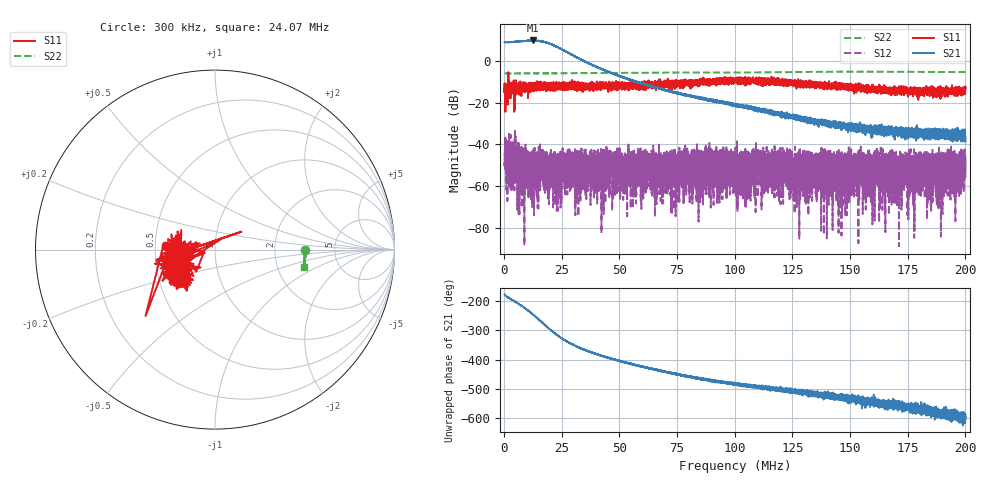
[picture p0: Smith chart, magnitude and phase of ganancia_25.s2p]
# Hz S DB R 50
! CMT, M5065, 19127446, 24.2.4/2
! Date: 11/8/2024 2:58:12 PM
! Data: Format (Calibration Info)
! Freq	S11:dB/Ang(F2)	S21:dB/Ang(F2)	S12:dB/Ang(F2)	S22:dB/Ang(F2)
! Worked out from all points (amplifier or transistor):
!   9000 points, 300 kHz to 200 MHz, reference 50 ohm
!   highest |S21| = 9.8 dB at 12.51 MHz (marker M1)
!   |S21| within 3 dB of that: start of sweep to 22.86 MHz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
!   unconditionally stable (mu >= 1): start of sweep to end of sweep
!   at 33.59 MHz: K = 40.34, MAG = 2.2 dB, |S12| = -42.0 dB
!   at 100.2 MHz: K = 761.56, MAG = -19.1 dB, |S12| = -46.4 dB
!   at 200 MHz: K = 5065.13, MAG = -35.0 dB, |S12| = -46.9 dB
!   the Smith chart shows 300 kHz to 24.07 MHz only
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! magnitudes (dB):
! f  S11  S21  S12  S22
! 300 kHz  -11.3  8.9  -48.4  -6.0
! 4.139 MHz  -12.4  9.1  -46.7  -6.0
! 7.357 MHz  -14.7  9.4  -45.3  -6.0
! 12.51 MHz  -12.8  9.8  -45.6  -5.9
! 20.29 MHz  -12.2  8.0  -54.8  -6.0
! 33.59 MHz  -11.5  0.6  -42.0  -5.8
! 66.87 MHz  -11.4  -13.0  -51.7  -5.7
! 100.2 MHz  -9.6  -21.1  -46.4  -5.5
! 133.4 MHz  -11.6  -28.7  -57.2  -5.3
! 148.8 MHz  -12.4  -30.6  -48.3  -5.2
! 154.4 MHz  -12.3  -31.1  -45.5  -5.2
! 156.4 MHz  -15.0  -31.1  -52.1  -5.2
! 166.7 MHz  -14.0  -33.6  -55.2  -5.2
! 176.5 MHz  -13.0  -33.3  -57.1  -5.2
! 178.5 MHz  -15.2  -35.4  -56.5  -5.2
! 182 MHz  -15.1  -34.8  -46.9  -5.3
! 185.1 MHz  -14.5  -34.5  -44.8  -5.3
! 187 MHz  -16.4  -32.4  -48.2  -5.3
! 189.1 MHz  -14.0  -34.6  -51.6  -5.3
! 192.2 MHz  -13.6  -37.0  -52.8  -5.3
! 198.2 MHz  -13.8  -35.3  -57.1  -5.3
! 200 MHz  -13.0  -36.7  -46.9  -5.4
